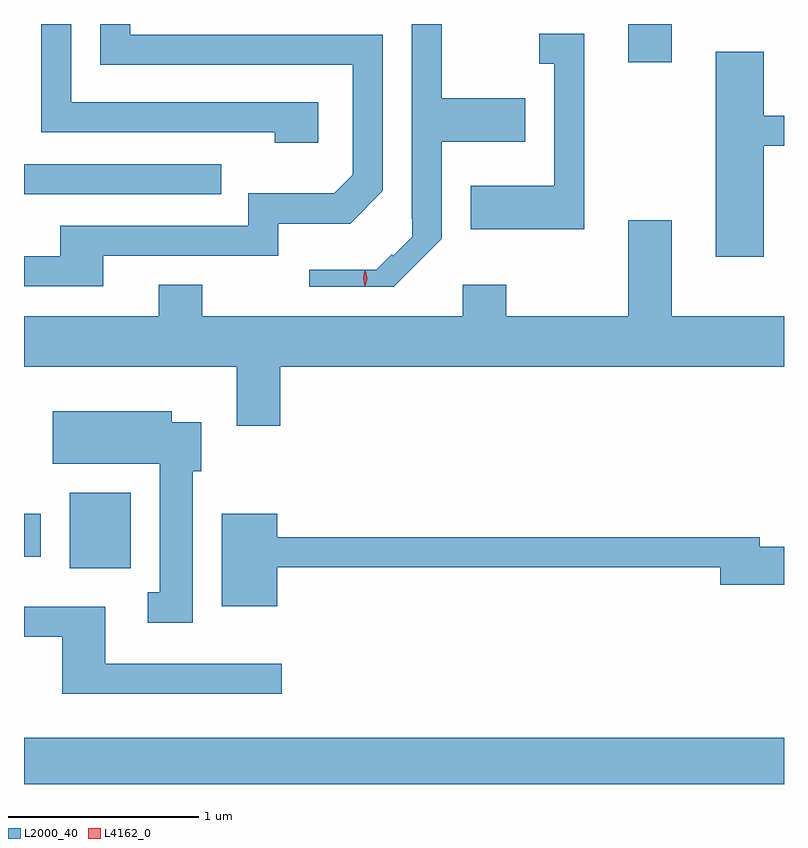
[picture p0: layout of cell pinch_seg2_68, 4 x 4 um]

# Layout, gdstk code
import gdstk
lib = gdstk.Library(unit=1e-6, precision=1e-09)
def R(c, l, rs):  # rectangles x0, y0, x1, y1
    for r in rs: c.add(gdstk.rectangle(r[:2], r[2:], *l))
def P(c, l, *ps):  # polygons
    for p in ps: c.add(gdstk.Polygon(p, *l))
L2000_40 = (2000, 40)
L4162_0 = (4162, 0)

pinch_seg2_68 = lib.new_cell('pinch_seg2_68')
R(pinch_seg2_68, L2000_40, [(1249.451,981.741,1253.451,981.984), (1249.691,982.876,1250.014,983.274), (1249.451,982.936,1249.539,983.164), (1249.451,984.846,1250.488,985.004), (1252.631,985.541,1252.859,985.741)])
P(pinch_seg2_68, L2000_40, [(1250.999,985.329),(1249.699,985.329),(1249.699,985.741),(1249.541,985.741),(1249.541,985.171),(1250.771,985.171),(1250.771,985.116),(1250.999,985.116)],
  [(1251.649,984.612),(1251.649,985.121),(1252.089,985.121),(1252.089,985.349),(1251.649,985.349),(1251.649,985.741),(1251.491,985.741),(1251.491,984.715),(1251.495,984.715),(1251.495,984.621),(1251.394,984.52),(1251.386,984.528),(1251.305,984.448),(1250.953,984.448),(1250.953,984.359),(1251.397,984.359)],
  [(1249.869,984.521),(1250.789,984.521),(1250.789,984.691),(1251.167,984.691),(1251.339,984.864),(1251.339,985.684),(1250.009,985.684),(1250.009,985.741),(1249.851,985.741),(1249.851,985.526),(1251.181,985.526),(1251.181,984.947),(1251.084,984.849),(1250.631,984.849),(1250.631,984.679),(1249.641,984.679),(1249.641,984.519),(1249.451,984.519),(1249.451,984.361),(1249.869,984.361)],
  [(1252.399,985.689),(1252.163,985.689),(1252.163,985.531),(1252.241,985.531),(1252.241,984.889),(1251.801,984.889),(1251.801,984.661),(1252.399,984.661)],
  [(1253.344,985.101),(1253.451,985.101),(1253.451,985.259),(1253.344,985.259),(1253.344,985.594),(1253.091,985.594),(1253.091,984.516),(1253.344,984.516)],
  [(1250.799,983.936),(1253.451,983.936),(1253.451,984.204),(1252.859,984.204),(1252.859,984.709),(1252.631,984.709),(1252.631,984.204),(1251.989,984.204),(1251.989,984.369),(1251.761,984.369),(1251.761,984.204),(1250.389,984.204),(1250.389,984.369),(1250.161,984.369),(1250.161,984.204),(1249.451,984.204),(1249.451,983.936),(1250.571,983.936),(1250.571,983.626),(1250.799,983.626)],
  [(1250.339,983.386),(1250.384,983.386),(1250.384,983.644),(1250.229,983.644),(1250.229,983.704),(1249.601,983.704),(1249.601,983.426),(1250.166,983.426),(1250.166,982.749),(1250.103,982.749),(1250.103,982.591),(1250.339,982.591)],
  [(1250.784,982.881),(1253.116,982.881),(1253.116,982.791),(1253.451,982.791),(1253.451,982.989),(1253.324,982.989),(1253.324,983.039),(1250.784,983.039),(1250.784,983.164),(1250.491,983.164),(1250.491,982.676),(1250.784,982.676)],
  [(1250.808,982.374),(1249.879,982.374),(1249.879,982.674),(1249.451,982.674),(1249.451,982.516),(1249.651,982.516),(1249.651,982.216),(1250.808,982.216)])
P(pinch_seg2_68, L4162_0, [(1251.246,984.36),(1251.245,984.361),(1251.236,984.403),(1251.245,984.446),(1251.246,984.446),(1251.246,984.446),(1251.256,984.403),(1251.246,984.361)],
  [(1251.248,984.368),(1251.239,984.404),(1251.248,984.439),(1251.248,984.44),(1251.249,984.439),(1251.258,984.404),(1251.25,984.368),(1251.249,984.368)])

lib.write_gds('pinch_seg2_68.gds')
